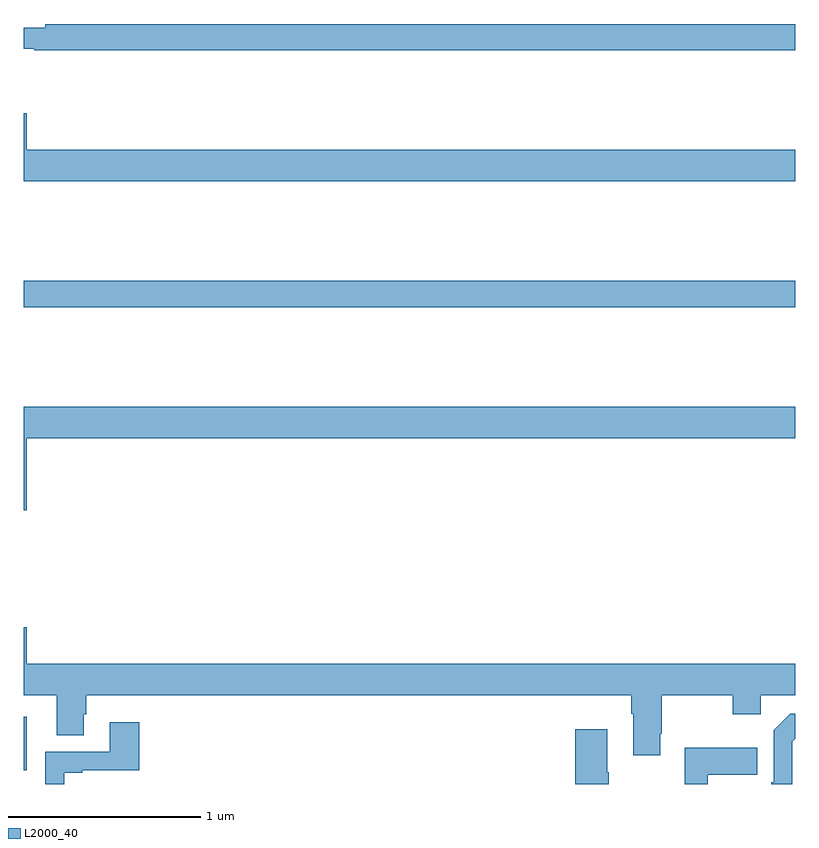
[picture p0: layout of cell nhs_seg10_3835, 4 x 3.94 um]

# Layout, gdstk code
import gdstk
lib = gdstk.Library(unit=1e-6, precision=1e-09)
def R(c, l, rs):  # rectangles x0, y0, x1, y1
    for r in rs: c.add(gdstk.rectangle(r[:2], r[2:], *l))
def P(c, l, *ps):  # polygons
    for p in ps: c.add(gdstk.Polygon(p, *l))
L2000_40 = (2000, 40)

nhs_seg10_3835 = lib.new_cell('nhs_seg10_3835')
R(nhs_seg10_3835, L2000_40, [(321,1322.571,321.016,1322.848), (321,1324.972,325,1325.108)])
P(nhs_seg10_3835, L2000_40, [(325,1326.44),(321.112,1326.44),(321.112,1326.421),(321,1326.421),(321,1326.312),(321.055,1326.312),(321.055,1326.304),(325,1326.304)],
  [(325,1325.788),(321.016,1325.788),(321.016,1325.977),(321,1325.977),(321,1325.624),(325,1325.624)],
  [(321.016,1324.292),(325,1324.292),(325,1324.456),(321,1324.456),(321,1323.918),(321.016,1323.918)],
  [(324.301,1322.761),(324.309,1322.761),(324.309,1322.96),(324.676,1322.96),(324.676,1322.861),(324.822,1322.861),(324.822,1322.96),(325,1322.96),(325,1323.124),(321.016,1323.124),(321.016,1323.313),(321,1323.313),(321,1322.96),(321.17,1322.96),(321.17,1322.752),(321.31,1322.752),(321.31,1322.862),(321.323,1322.862),(321.323,1322.96),(324.149,1322.96),(324.149,1322.864),(324.161,1322.864),(324.161,1322.649),(324.301,1322.649)],
  [(324.984,1322.718),(325,1322.734),(325,1322.865),(324.975,1322.865),(324.888,1322.778),(324.888,1322.509),(324.876,1322.509),(324.876,1322.5),(324.984,1322.5)],
  [(321.209,1322.559),(321.304,1322.559),(321.304,1322.571),(321.599,1322.571),(321.599,1322.821),(321.446,1322.821),(321.446,1322.667),(321.111,1322.667),(321.111,1322.5),(321.209,1322.5)],
  [(324.033,1322.561),(324.025,1322.561),(324.025,1322.785),(323.858,1322.785),(323.858,1322.5),(324.033,1322.5)],
  [(324.547,1322.549),(324.803,1322.549),(324.803,1322.689),(324.426,1322.689),(324.426,1322.5),(324.547,1322.5)])

lib.write_gds('nhs_seg10_3835.gds')
